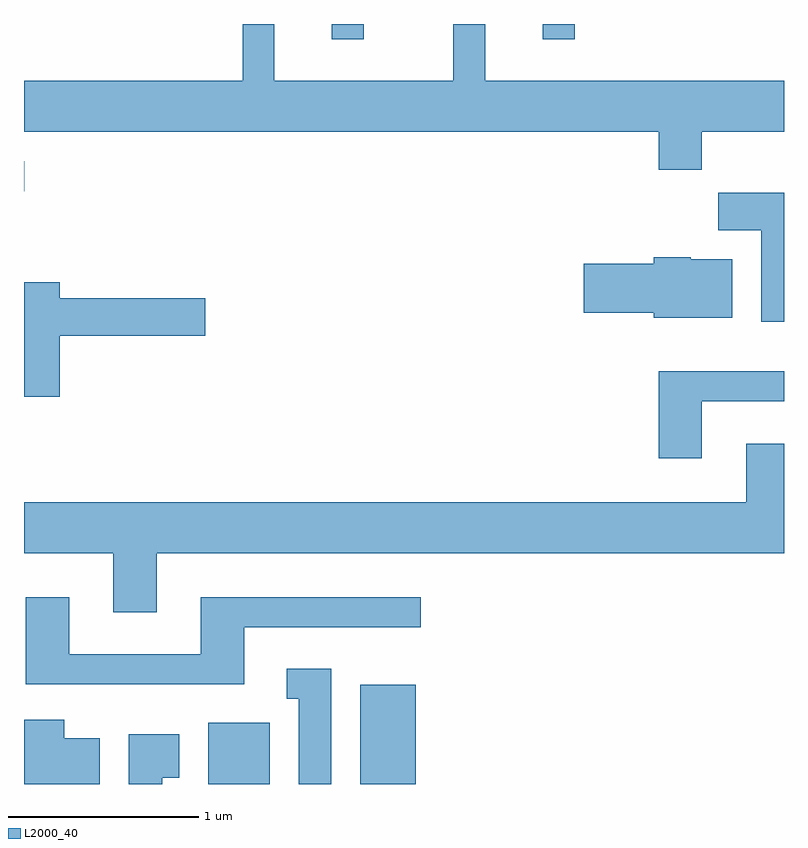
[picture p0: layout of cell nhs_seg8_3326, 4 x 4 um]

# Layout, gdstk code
import gdstk
lib = gdstk.Library(unit=1e-6, precision=1e-09)
def R(c, l, rs):  # rectangles x0, y0, x1, y1
    for r in rs: c.add(gdstk.rectangle(r[:2], r[2:], *l))
def P(c, l, *ps):  # polygons
    for p in ps: c.add(gdstk.Polygon(p, *l))
L2000_40 = (2000, 40)

nhs_seg8_3326 = lib.new_cell('nhs_seg8_3326')
R(nhs_seg8_3326, L2000_40, [(286.581,1806.342,286.904,1806.664), (287.381,1806.342,287.674,1806.864), (285.611,1809.461,285.613,1809.619), (287.231,1810.263,287.399,1810.342), (288.341,1810.263,288.509,1810.342)])
P(nhs_seg8_3326, L2000_40, [(288.039,1810.342),(287.871,1810.342),(287.871,1810.044),(286.929,1810.044),(286.929,1810.342),(286.761,1810.342),(286.761,1810.044),(285.611,1810.044),(285.611,1809.776),(288.951,1809.776),(288.951,1809.576),(289.179,1809.576),(289.179,1809.776),(289.611,1809.776),(289.611,1810.044),(288.039,1810.044)],
  [(289.611,1809.454),(289.266,1809.454),(289.266,1809.256),(289.491,1809.256),(289.491,1808.776),(289.611,1808.776)],
  [(289.339,1809.104),(289.12,1809.104),(289.12,1809.114),(288.926,1809.114),(288.926,1809.079),(288.556,1809.079),(288.556,1808.821),(288.926,1808.821),(288.926,1808.796),(289.339,1808.796)],
  [(285.799,1808.701),(286.564,1808.701),(286.564,1808.899),(285.799,1808.899),(285.799,1808.984),(285.611,1808.984),(285.611,1808.381),(285.799,1808.381)],
  [(289.179,1808.356),(289.611,1808.356),(289.611,1808.514),(288.951,1808.514),(288.951,1808.056),(289.179,1808.056)],
  [(286.309,1807.556),(289.611,1807.556),(289.611,1808.134),(289.411,1808.134),(289.411,1807.824),(285.611,1807.824),(285.611,1807.556),(286.081,1807.556),(286.081,1807.246),(286.309,1807.246)],
  [(286.769,1807.166),(287.698,1807.166),(287.698,1807.324),(286.541,1807.324),(286.541,1807.024),(285.849,1807.024),(285.849,1807.324),(285.621,1807.324),(285.621,1806.866),(286.769,1806.866)],
  [(287.229,1806.949),(286.993,1806.949),(286.993,1806.791),(287.056,1806.791),(287.056,1806.342),(287.229,1806.342)],
  [(286.009,1806.584),(285.824,1806.584),(285.824,1806.679),(285.611,1806.679),(285.611,1806.342),(286.009,1806.342)],
  [(286.339,1806.376),(286.429,1806.376),(286.429,1806.604),(286.161,1806.604),(286.161,1806.342),(286.339,1806.342)])

lib.write_gds('nhs_seg8_3326.gds')
